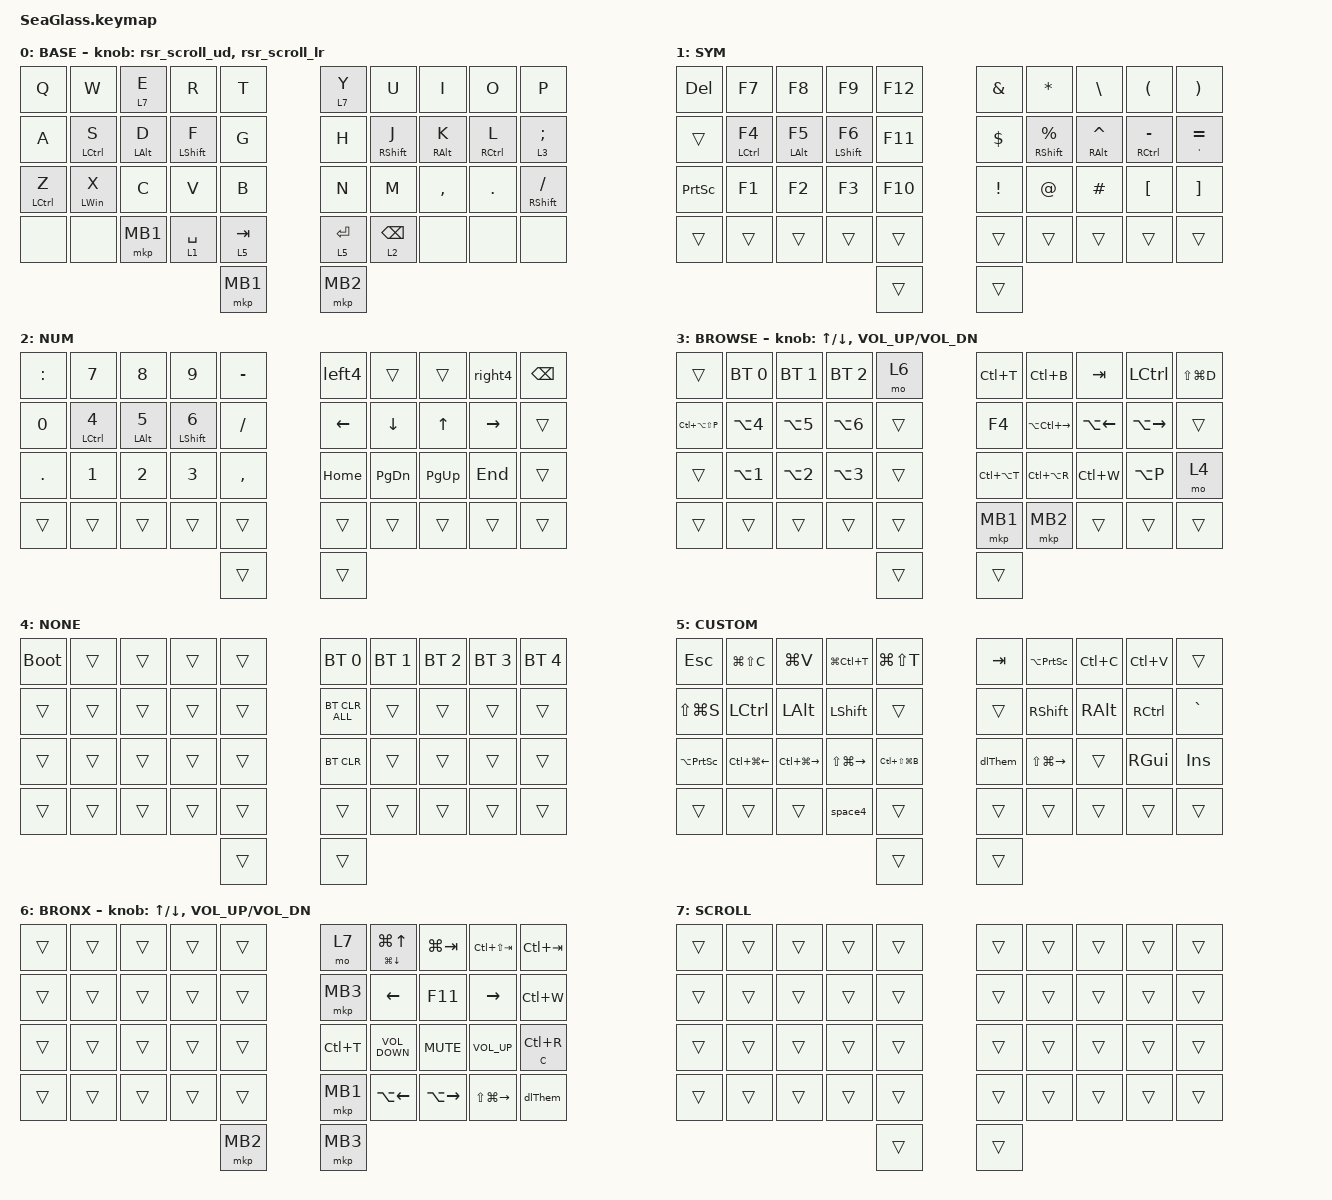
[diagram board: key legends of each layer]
#include <behaviors/runtime-sensor-rotate.dtsi>
#include <behaviors/runtime_macro.dtsi>
#include <behaviors.dtsi>
#include <dt-bindings/zmk/bt.h>
#include <dt-bindings/zmk/keys.h>
#include <dt-bindings/zmk/pointing.h>

#undef ZMK_POINTING_DEFAULT_SCRL_VAL

#define ZMK_POINTING_DEFAULT_SCRL_VAL 120

&mt {
    flavor = "balanced";
    quick-tap-ms = <300>;
};

&lt {
    flavor = "balanced";
    quick-tap-ms = <300>;
};

/ {
    combos {
        compatible = "zmk,combos";

        cmbEsc {
            bindings = <&kp ESCAPE>;
            key-positions = <1 0>;
        };

        cmbEng {
            bindings = <&kp LANGUAGE_1>;
            key-positions = <27 26>;
        };

        cmbJp {
            bindings = <&kp LANGUAGE_2>;
            key-positions = <22 23>;
        };

        cmbMinus {
            bindings = <&kp MINUS>;
            key-positions = <18 19>;
        };

        cmbSingle {
            bindings = <&kp SINGLE_QUOTE>;
            key-positions = <28 29>;
        };

        cmbMB2 {
            bindings = <&mkp MB2>;
            key-positions = <13 12>;
        };

        cmbMB3 {
            bindings = <&mkp MB3>;
            key-positions = <20 21>;
        };

        cmbMB3_2 {
            bindings = <&mkp MB3>;
            key-positions = <40 41>;
        };

        cmbTog6 {
            bindings = <&tog 6>;
            key-positions = <28 38>;
        };
    };

    macros {
        to_layer_0: to_layer_0 {
            compatible = "zmk,behavior-macro-one-param";
            #binding-cells = <1>;
            bindings = <&to 0 &macro_param_1to1 &kp MACRO_PLACEHOLDER>;
            label = "TO_LAYER_0";
        };

        space4: space4 {
            compatible = "zmk,behavior-macro";
            #binding-cells = <0>;
            bindings = <&kp SPACE &kp SPACE &kp SPACE &kp SPACE>;
            label = "SPACE4";
        };

        left4: left4 {
            compatible = "zmk,behavior-macro";
            #binding-cells = <0>;
            bindings = <&kp LEFT &kp LEFT &kp LEFT &kp LEFT>;
            label = "LEFT4";
        };

        right4: right4 {
            compatible = "zmk,behavior-macro";
            #binding-cells = <0>;
            bindings = <&kp RIGHT &kp RIGHT &kp RIGHT &kp RIGHT>;
            label = "RIGHT4";
        };

        dlThem: dlThem {
            compatible = "zmk,behavior-macro";
            #binding-cells = <0>;
            bindings =
                <&kp LEFT_ALT &kp T>,
                <&macro_wait_time 100>,
                <&kp UP_ARROW>,
                <&macro_wait_time 100>,
                <&kp RIGHT>,
                <&macro_wait_time 100>,
                <&kp DOWN>,
                <&macro_wait_time 100>,
                <&kp ENTER>;

            label = "DLTHEM";
        };
    };

    behaviors {
        lt_to_layer_0: lt_to_layer_0 {
            compatible = "zmk,behavior-hold-tap";
            label = "LAYER_TAP_TO_0";
            bindings = <&mo>, <&to_layer_0>;

            #binding-cells = <2>;
            tapping-term-ms = <200>;
        };

        rsr_scroll_ud: rsr_scroll_ud {
            compatible = "zmk,behavior-runtime-sensor-rotate";
            #sensor-binding-cells = <0>;
            tap-ms = <20>;
            cw-binding = <&msc SCRL_UP>;
            ccw-binding = <&msc SCRL_DOWN>;
        };

        rsr_scroll_lr: rsr_scroll_lr {
            compatible = "zmk,behavior-runtime-sensor-rotate";
            #sensor-binding-cells = <0>;
            tap-ms = <20>;
            cw-binding = <&msc SCRL_RIGHT>;
            ccw-binding = <&msc SCRL_LEFT>;
        };
    };

    keymap {
        compatible = "zmk,keymap";

        base {
            bindings = <
&kp Q        &kp W        &lt 7 E         &kp R         &kp T      &lt 7 Y      &kp U            &kp I            &kp O        &kp P
&kp A        &mt LCTRL S  &mt LEFT_ALT D  &mt LSHIFT F  &kp G      &kp H        &mt RSHIFT J     &mt RIGHT_ALT K  &mt RCTRL L  &lt 3 SEMICOLON
&mt LCTRL Z  &mt LWIN X   &kp C           &kp V         &kp B      &kp N        &kp M            &kp COMMA        &kp PERIOD   &mt RIGHT_SHIFT SLASH
&none        &none        &mkp MB1        &lt 1 SPACE   &lt 5 TAB  &lt 5 ENTER  &lt 2 BACKSPACE  &none            &none        &none
                                                                   &mkp MB1     &mkp MB2
            >;

            sensor-bindings = <&rsr_scroll_ud &rsr_scroll_lr>;
            label = "BASE";
        };

        sym {
            bindings = <
&kp DELETE       &kp F7        &kp F8           &kp F9         &kp F12  &kp AMPERSAND    &kp ASTERISK        &kp BACKSLASH        &kp LEFT_PARENTHESIS  &kp RIGHT_PARENTHESIS
&trans           &mt LCTRL F4  &mt LEFT_ALT F5  &mt LSHIFT F6  &kp F11  &kp DOLLAR       &mt RSHIFT PERCENT  &mt RIGHT_ALT CARET  &mt RCTRL MINUS       &mt SQT EQUAL
&kp PRINTSCREEN  &kp F1        &kp F2           &kp F3         &kp F10  &kp EXCLAMATION  &kp AT_SIGN         &kp HASH             &kp LEFT_BRACKET      &kp RIGHT_BRACKET
&trans           &trans        &trans           &trans         &trans   &trans           &trans              &trans               &trans                &trans
                                                                        &trans           &trans
            >;

            label = "SYM";
        };

        num {
            bindings = <
&kp COLON  &kp N7              &kp N8           &kp N9               &kp MINUS  &left4    &trans     &trans        &right4    &kp BSPC
&kp N0     &mt LCTRL NUMBER_4  &mt LEFT_ALT N5  &mt LSHIFT NUMBER_6  &kp FSLH   &kp LEFT  &kp DOWN   &kp UP_ARROW  &kp RIGHT  &trans
&kp DOT    &kp N1              &kp N2           &kp N3               &kp COMMA  &kp HOME  &kp PG_DN  &kp PG_UP     &kp END    &trans
&trans     &trans              &trans           &trans               &trans     &trans    &trans     &trans        &trans     &trans
                                                                                &trans    &trans
            >;

            label = "NUM";
        };

        browse {
            bindings = <
&trans             &bt BT_SEL 0  &bt BT_SEL 1  &bt BT_SEL 2  &mo 6   &kp LC(T)      &kp LC(B)          &kp TAB       &kp LCTRL      &kp LS(LG(D))
&kp LC(LA(LS(P)))  &kp LA(N4)    &kp LA(N5)    &kp LA(N6)    &trans  &kp F4         &kp LA(LC(RIGHT))  &kp LA(LEFT)  &kp LA(RIGHT)  &trans
&trans             &kp LA(N1)    &kp LA(N2)    &kp LA(N3)    &trans  &kp LC(LA(T))  &kp LC(LA(R))      &kp LC(W)     &kp LA(P)      &mo 4
&trans             &trans        &trans        &trans        &trans  &mkp MB1       &mkp MB2           &trans        &trans         &trans
                                                                     &trans         &trans
            >;

            label = "BROWSE";
            sensor-bindings =
                <&inc_dec_kp UP_ARROW DOWN>,
                <&inc_dec_kp C_VOL_UP C_VOL_DN>;
        };

        none {
            bindings = <
&bootloader  &trans  &trans  &trans  &trans  &bt BT_SEL 0    &bt BT_SEL 1  &bt BT_SEL 2  &bt BT_SEL 3  &bt BT_SEL 4
&trans       &trans  &trans  &trans  &trans  &bt BT_CLR_ALL  &trans        &trans        &trans        &trans
&trans       &trans  &trans  &trans  &trans  &bt BT_CLR      &trans        &trans        &trans        &trans
&trans       &trans  &trans  &trans  &trans  &trans          &trans        &trans        &trans        &trans
                                             &trans          &trans
            >;

            label = "NONE";
        };

        custom {
            bindings = <
&kp ESC              &kp LG(LS(C))     &kp LG(V)          &kp LG(LC(T))      &kp LG(LS(T))      &kp TAB  &kp LA(PRINTSCREEN)  &kp LC(C)  &kp LC(V)  &trans
&kp LS(LG(S))        &kp LCTRL         &kp LALT           &kp LSHFT          &trans             &trans   &kp RSHFT            &kp RALT   &kp RCTRL  &kp GRAVE
&kp LA(PRINTSCREEN)  &kp LC(LG(LEFT))  &kp LC(LG(RIGHT))  &kp LS(LG(RIGHT))  &kp LC(LS(LG(B)))  &dlThem  &kp LS(LG(RIGHT))    &trans     &kp RGUI   &kp INSERT
&trans               &trans            &trans             &space4            &trans             &trans   &trans               &trans     &trans     &trans
                                                                                                &trans   &trans
            >;

            label = "CUSTOM";
        };

        bronx {
            bindings = <
&trans  &trans  &trans  &trans  &trans  &mo 7      &mt LG(DOWN) LG(UP_ARROW)  &kp LG(TAB)    &kp LC(LS(TAB))    &kp LC(TAB)
&trans  &trans  &trans  &trans  &trans  &mkp MB3   &kp LEFT                   &kp F11        &kp RIGHT          &kp LC(W)
&trans  &trans  &trans  &trans  &trans  &kp LC(T)  &kp C_VOLUME_DOWN          &kp C_MUTE     &kp C_VOLUME_UP    &mt C LC(R)
&trans  &trans  &trans  &trans  &trans  &mkp MB1   &kp LA(LEFT)               &kp LA(RIGHT)  &kp LS(LG(RIGHT))  &dlThem
                                        &mkp MB2   &mkp MB3
            >;

            label = "BRONX";
            sensor-bindings =
                <&inc_dec_kp UP_ARROW DOWN>,
                <&inc_dec_kp C_VOL_UP C_VOL_DN>;
        };

        scroll {
            bindings = <
&trans  &trans  &trans  &trans  &trans  &trans  &trans  &trans  &trans  &trans
&trans  &trans  &trans  &trans  &trans  &trans  &trans  &trans  &trans  &trans
&trans  &trans  &trans  &trans  &trans  &trans  &trans  &trans  &trans  &trans
&trans  &trans  &trans  &trans  &trans  &trans  &trans  &trans  &trans  &trans
                                        &trans  &trans
            >;

            label = "SCROLL";
        };
    };
};
